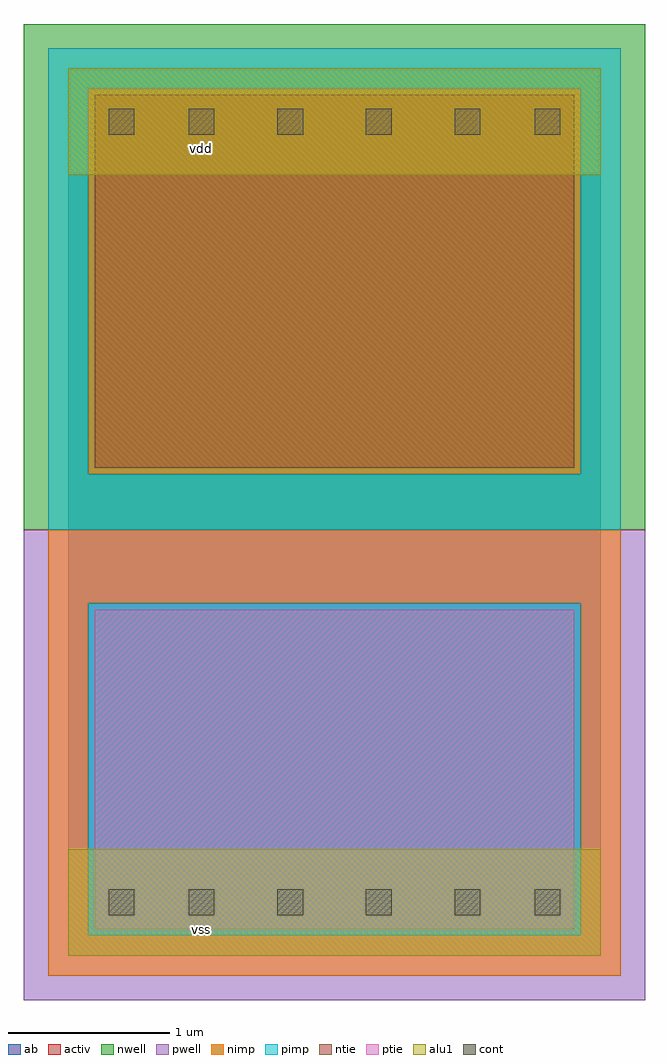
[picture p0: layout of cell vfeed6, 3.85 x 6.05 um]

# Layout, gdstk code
import gdstk
lib = gdstk.Library(unit=1e-6, precision=2.5e-09)
def R(c, l, rs):  # rectangles x0, y0, x1, y1
    for r in rs: c.add(gdstk.rectangle(r[:2], r[2:], *l))
def A(c, l, x, y, w, h, nx, ny, dx, dy):  # array of equal rectangles
    R(c, l, [(x+i*dx, y+j*dy, x+i*dx+w, y+j*dy+h) for i in range(nx) for j in range(ny)])
ntie = (5, 0)
ptie = (6, 0)
cont = (25, 0)
pwell = (41, 0)
nwell = (42, 0)
activ = (43, 0)
pimp = (44, 0)
nimp = (45, 0)
alu1 = (49, 0)
ab = (63, 0)

vfeed6 = lib.new_cell('vfeed6')
R(vfeed6, ntie, [(0.165,3.025,3.135,5.335)])
R(vfeed6, ptie, [(0.165,0.165,3.135,2.145)])
A(vfeed6, cont, 0.745, 0.25, 0.16, 0.16, 4, 2, 0.55, 4.84)
R(vfeed6, cont, [(0.25,0.25,0.41,0.41), (2.89,0.25,3.05,0.41), (0.25,5.09,0.41,5.25), (2.89,5.09,3.05,5.25)])
R(vfeed6, pwell, [(-0.275,-0.275,3.575,2.64)])
R(vfeed6, nwell, [(-0.275,2.64,3.575,5.775)])
R(vfeed6, activ, [(0.165,0.165,3.135,2.145), (0.165,3.025,3.135,5.335)])
R(vfeed6, pimp, [(0.125,0.125,3.175,2.185), (-0.125,2.64,3.425,2.985), (-0.125,2.985,0.125,5.375), (3.175,2.985,3.425,5.375), (-0.125,5.375,3.425,5.625)])
R(vfeed6, nimp, [(-0.125,-0.125,3.425,0.125), (-0.125,0.125,0.125,2.185), (3.175,0.125,3.425,2.185), (-0.125,2.185,3.425,2.64), (0.125,2.985,3.175,5.375)])
R(vfeed6, alu1, [(0,0,3.3,0.66), (0,4.84,3.3,5.5)])
R(vfeed6, ab, [(0,0,3.3,5.5)])
vfeed6.add(gdstk.Label('vss', (0.825,0.165), layer=49, texttype=0))
vfeed6.add(gdstk.Label('vdd', (0.825,5.005), layer=49, texttype=0))

lib.write_gds('vfeed6.gds')
